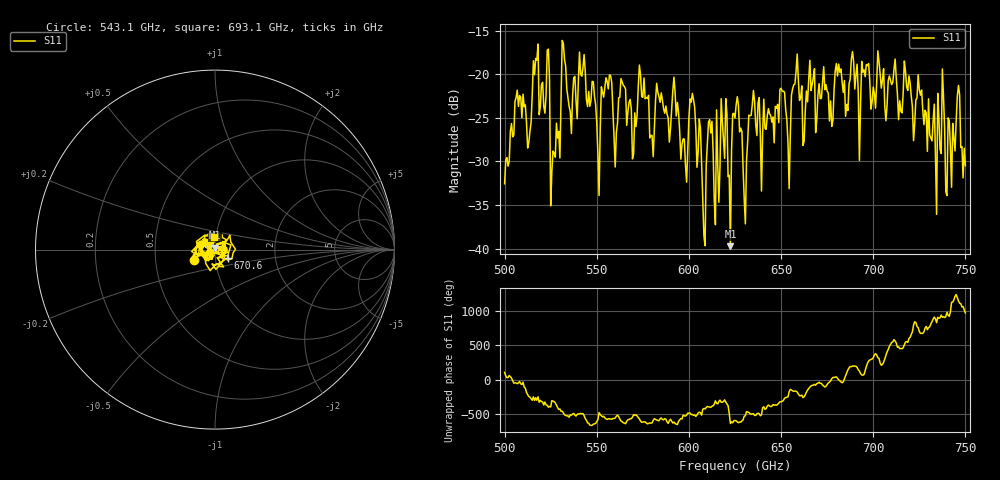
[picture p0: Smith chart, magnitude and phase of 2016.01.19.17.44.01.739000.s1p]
!Created with skrf (http://scikit-rf.org).
# GHz S RI R 50.0
!freq ReS11 ImS11
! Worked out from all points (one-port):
!   401 points, 500 GHz to 750 GHz, reference 50 ohm
!   lowest |S11| = -39.7 dB at 622.5 GHz (marker M1), VSWR 1.02, Z = 50 + j1.03 ohm
!   |S11| at or under -10 dB: start of sweep to end of sweep
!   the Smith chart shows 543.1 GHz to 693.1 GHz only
!   S11 on the Smith chart (normalised r, x): 543.1 GHz: 0.79, -0.09; 670.6 GHz: 1.15, -0.11; 693.1 GHz: 0.99, +0.13
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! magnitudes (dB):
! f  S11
! 500 GHz  -32.6
! 506.9 GHz  -21.8
! 513.1 GHz  -27.8
! 516.9 GHz  -18.2
! 523.1 GHz  -17.3
! 526.2 GHz  -28.8
! 531.2 GHz  -16.1
! 543.1 GHz  -17.8
! 550.6 GHz  -29.1
! 553.8 GHz  -22.6
! 562.5 GHz  -22.7
! 593.8 GHz  -23.2
! 598.1 GHz  -30.4
! 601.9 GHz  -22.2
! 608.1 GHz  -38.5
! 611.2 GHz  -25.2
! 622.5 GHz  -39.7
! 625 GHz  -25.0
! 630.6 GHz  -37.2
! 634.4 GHz  -23.5
! 656.2 GHz  -21.7
! 670.6 GHz  -21.1
! 687.5 GHz  -20.6
! 693.1 GHz  -23.3
! 718.8 GHz  -21.9
! 740.6 GHz  -25.0
! 746.2 GHz  -21.3
! 750 GHz  -30.5
